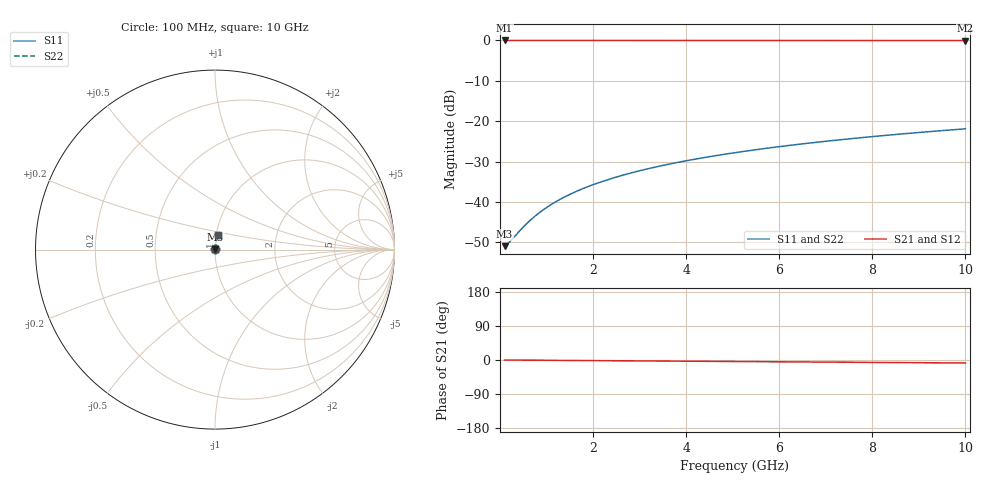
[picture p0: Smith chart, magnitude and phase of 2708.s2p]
# Hz S RI R 50.00
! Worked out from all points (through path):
!   100 points, 100 MHz to 10 GHz, reference 50 ohm
!   highest |S21| = -0.02 dB at 100 MHz (marker M1); lowest = -0.1 dB at 10 GHz (marker M2)
!   group delay of S21, straight-line fit = 2.2 ps
!   lowest |S11| = -50.9 dB at 100 MHz (marker M3), VSWR 1.01, Z = 50.3 + j0.0806 ohm
!   |S11| at or under -10 dB: start of sweep to end of sweep
!   |S22| runs from -50.9 to -21.9 dB; largest |S21 - S12| = 0
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1e8  0.00272 0.000801  0.9973 -0.00138  0.9973 -0.00138  0.00272 0.000801
2e8  0.00274 0.0016  0.9973 -0.00275  0.9973 -0.00275  0.00274 0.0016
5e8  0.0028 0.00401  0.9972 -0.00688  0.9972 -0.00688  0.0028 0.00401
6e8  0.00282 0.00481  0.9972 -0.00826  0.9972 -0.00826  0.00282 0.00481
7e8  0.00284 0.00561  0.9971 -0.00963  0.9971 -0.00963  0.00284 0.00561
9e8  0.00289 0.00721  0.9971 -0.0124  0.9971 -0.0124  0.00289 0.00721
1.1e9  0.00294 0.00881  0.997 -0.0151  0.997 -0.0151  0.00294 0.00881
1.3e9  0.003 0.0104  0.997 -0.0179  0.997 -0.0179  0.003 0.0104
1.5e9  0.00308 0.012  0.9969 -0.0206  0.9969 -0.0206  0.00308 0.012
1.8e9  0.0032 0.0144  0.9967 -0.0248  0.9967 -0.0248  0.0032 0.0144
2.1e9  0.00334 0.0168  0.9966 -0.0289  0.9966 -0.0289  0.00334 0.0168
2.5e9  0.00355 0.02  0.9963 -0.0344  0.9963 -0.0344  0.00355 0.02
2.9e9  0.0038 0.0232  0.996 -0.0399  0.996 -0.0399  0.0038 0.0232
3.4e9  0.00417 0.0272  0.9956 -0.0468  0.9956 -0.0468  0.00417 0.0272
3.8e9  0.00449 0.0304  0.9952 -0.0522  0.9952 -0.0522  0.00449 0.0304
4.2e9  0.00486 0.0336  0.9948 -0.0577  0.9948 -0.0577  0.00486 0.0336
5.1e9  0.0058 0.0407  0.9937 -0.0701  0.9937 -0.0701  0.0058 0.0407
5.9e9  0.00679 0.0471  0.9926 -0.081  0.9926 -0.081  0.00679 0.0471
6.7e9  0.00792 0.0534  0.9913 -0.092  0.9913 -0.092  0.00792 0.0534
7.5e9  0.00919 0.0597  0.9898 -0.1029  0.9898 -0.1029  0.00919 0.0597
8.4e9  0.0108 0.0667  0.988 -0.1151  0.988 -0.1151  0.0108 0.0667
1e10  0.0141 0.0791  0.9842 -0.1368  0.9842 -0.1368  0.0141 0.0791
